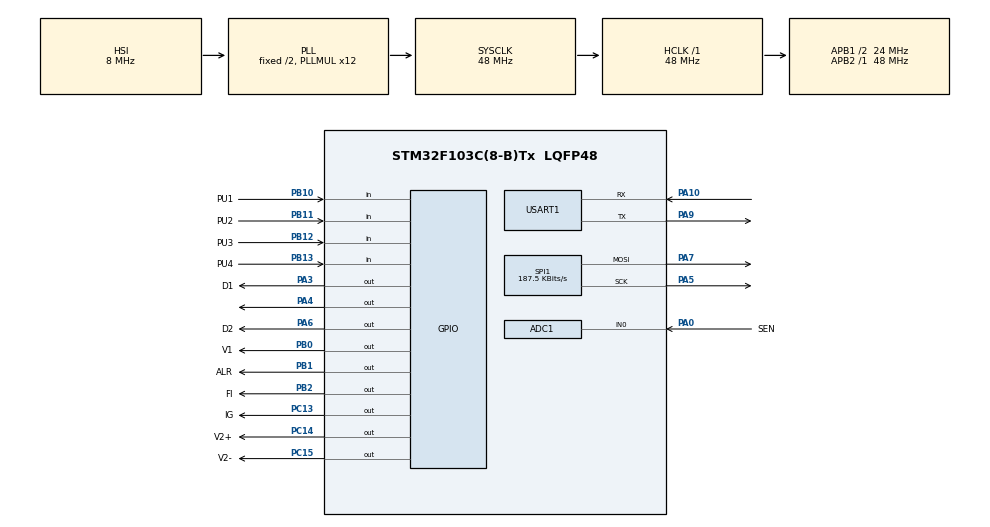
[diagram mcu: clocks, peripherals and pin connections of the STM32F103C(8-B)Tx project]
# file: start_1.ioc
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ADC1.Channel-0\#ChannelRegularConversion=ADC_CHANNEL_0
ADC1.NbrOfConversionFlag=1
ADC1.Rank-0\#ChannelRegularConversion=1
ADC1.SamplingTime-0\#ChannelRegularConversion=ADC_SAMPLETIME_1CYCLE_5
ADC1.master=1
FREERTOS.Tasks01=defaultTask,24,256,StartDefaultTask,Default,NULL,Dynamic,NULL,NULL;btn,8,128,StartTask02,Default,NULL,Dynamic,NULL,NULL;mode,8,128,StartTask03,Default,NULL,Dynamic,NULL,NULL
FREERTOS.configUSE_NEWLIB_REENTRANT=1
Mcu.Family=STM32F1
Mcu.Name=STM32F103C(8-B)Tx
Mcu.Package=LQFP48
NVIC.PriorityGroup=NVIC_PRIORITYGROUP_4
NVIC.TIM1_UP_IRQn=true\:15\:0\:false\:false\:true\:false\:false\:true\:true
NVIC.TimeBase=TIM1_UP_IRQn
NVIC.TimeBaseIP=TIM1
PA0-WKUP.GPIO_Label=SEN
PA0-WKUP.Signal=ADCx_IN0
PA10.Mode=Asynchronous
PA10.Signal=USART1_RX
PA13.Mode=Serial_Wire
PA13.Signal=SYS_JTMS-SWDIO
PA14.Mode=Serial_Wire
PA14.Signal=SYS_JTCK-SWCLK
PA3.GPIO_Label=D1
PA3.GPIO_ModeDefaultOutputPP=GPIO_MODE_OUTPUT_OD
PA3.GPIO_PuPd=GPIO_NOPULL
PA3.Signal=GPIO_Output
PA4.Signal=GPIO_Output
PA5.Mode=TX_Only_Simplex_Unidirect_Master
PA5.Signal=SPI1_SCK
PA6.GPIO_Label=D2
PA6.GPIO_ModeDefaultOutputPP=GPIO_MODE_OUTPUT_OD
PA6.GPIO_PuPd=GPIO_NOPULL
PA6.Signal=GPIO_Output
PA7.Mode=TX_Only_Simplex_Unidirect_Master
PA7.Signal=SPI1_MOSI
PA9.Mode=Asynchronous
PA9.Signal=USART1_TX
PB0.GPIO_Label=V1
PB0.GPIO_PuPd=GPIO_PULLDOWN
PB0.Signal=GPIO_Output
PB1.GPIO_Label=ALR
PB1.GPIO_PuPd=GPIO_PULLDOWN
PB1.Signal=GPIO_Output
PB10.GPIO_Label=PU1
PB10.Signal=GPIO_Input
PB11.GPIO_Label=PU2
PB11.Signal=GPIO_Input
PB12.GPIO_Label=PU3
PB12.Signal=GPIO_Input
PB13.GPIO_Label=PU4
PB13.Signal=GPIO_Input
PB2.GPIO_Label=FI
PB2.GPIO_PuPd=GPIO_PULLDOWN
PB2.Signal=GPIO_Output
PC13-TAMPER-RTC.GPIO_Label=IG
PC13-TAMPER-RTC.GPIO_PuPd=GPIO_PULLDOWN
PC13-TAMPER-RTC.Signal=GPIO_Output
PC14-OSC32_IN.GPIO_Label=V2+
PC14-OSC32_IN.GPIO_PuPd=GPIO_PULLDOWN
PC14-OSC32_IN.Signal=GPIO_Output
PC15-OSC32_OUT.GPIO_Label=V2-
PC15-OSC32_OUT.GPIO_PuPd=GPIO_PULLDOWN
PC15-OSC32_OUT.Signal=GPIO_Output
ProjectManager.HeapSize=0x200
ProjectManager.StackSize=0x400
ProjectManager.TargetToolchain=STM32CubeIDE
RCC.ADCPresc=RCC_ADCPCLK2_DIV4
RCC.AHBFreq_Value=48000000
RCC.APB1CLKDivider=RCC_HCLK_DIV2
RCC.APB1Freq_Value=24000000
RCC.APB1TimFreq_Value=48000000
RCC.APB2Freq_Value=48000000
RCC.APB2TimFreq_Value=48000000
RCC.HCLKFreq_Value=48000000
RCC.PLLMUL=RCC_PLL_MUL12
RCC.SYSCLKFreq_VALUE=48000000
RCC.SYSCLKSource=RCC_SYSCLKSOURCE_PLLCLK
RCC.USBFreq_Value=48000000
SH.ADCx_IN0.0=ADC1_IN0,IN0
SPI1.BaudRatePrescaler=SPI_BAUDRATEPRESCALER_256
SPI1.CLKPhase=SPI_PHASE_2EDGE
SPI1.CLKPolarity=SPI_POLARITY_LOW
SPI1.CalculateBaudRate=187.5 KBits/s
SPI1.Direction=SPI_DIRECTION_2LINES
SPI1.Mode=SPI_MODE_MASTER
SPI1.VirtualType=VM_MASTER
USART1.VirtualMode=VM_ASYNC
VP_FREERTOS_VS_CMSIS_V2.Mode=CMSIS_V2
VP_SYS_VS_tim1.Mode=TIM1
board=custom

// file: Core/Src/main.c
/* USER CODE BEGIN Header */
/**
  ******************************************************************************
  * @file           : main.c
  * @brief          : Main program body
  ******************************************************************************
  * @attention
  *
  * Copyright (c) 2024 STMicroelectronics.
  * All rights reserved.
  *
  * This software is licensed under terms that can be found in the LICENSE file
  * in the root directory of this software component.
  * If no LICENSE file comes with this software, it is provided AS-IS.
  *
  ******************************************************************************
  */
/* USER CODE END Header */
#include "main.h"
#include "cmsis_os.h"

ADC_HandleTypeDef hadc1;

SPI_HandleTypeDef hspi1;

UART_HandleTypeDef huart1;

/* Definitions for defaultTask */
osThreadId_t defaultTaskHandle;
const osThreadAttr_t defaultTask_attributes = {
  .name = "defaultTask",
  .stack_size = 256 * 4,
  .priority = (osPriority_t) osPriorityNormal,
};
/* Definitions for btn */
osThreadId_t btnHandle;
const osThreadAttr_t btn_attributes = {
  .name = "btn",
  .stack_size = 128 * 4,
  .priority = (osPriority_t) osPriorityLow,
};
/* Definitions for mode */
osThreadId_t modeHandle;
const osThreadAttr_t mode_attributes = {
  .name = "mode",
  .stack_size = 128 * 4,
  .priority = (osPriority_t) osPriorityLow,
};
/* USER CODE BEGIN PV */
uint8_t btn_pos = 0;
uint8_t mode = 0;
uint8_t modeNow = 0;
uint8_t detect = 0;
uint8_t detect3 = 0;
uint8_t detect4 = 0;
uint8_t Eror = 150;
uint8_t flag = 0;
uint8_t adc_ready = 0;
/* USER CODE END PV */

void SystemClock_Config(void);
static void MX_GPIO_Init(void);
static void MX_ADC1_Init(void);
static void MX_SPI1_Init(void);
static void MX_USART1_UART_Init(void);
void StartDefaultTask(void *argument);
void StartTask02(void *argument);
void StartTask03(void *argument);

int main(void)
{

  /* MCU Configuration--------------------------------------------------------*/

  /* Reset of all peripherals, Initializes the Flash interface and the Systick. */
  HAL_Init();

  /* Configure the system clock */
  SystemClock_Config();

  /* Initialize all configured peripherals */
  MX_GPIO_Init();
  MX_ADC1_Init();
  MX_SPI1_Init();
  MX_USART1_UART_Init();

  /* Init scheduler */
  osKernelInitialize();

  /* Create the thread(s) */
  /* creation of defaultTask */
  defaultTaskHandle = osThreadNew(StartDefaultTask, NULL, &defaultTask_attributes);

  /* creation of btn */
  btnHandle = osThreadNew(StartTask02, NULL, &btn_attributes);

  /* creation of mode */
  modeHandle = osThreadNew(StartTask03, NULL, &mode_attributes);

  /* Start scheduler */
  osKernelStart();

  /* We should never get here as control is now taken by the scheduler */
  /* Infinite loop */
  while (1)
  {

  }
}

void SystemClock_Config(void)
{
  RCC_OscInitTypeDef RCC_OscInitStruct = {0};
  RCC_ClkInitTypeDef RCC_ClkInitStruct = {0};
  RCC_PeriphCLKInitTypeDef PeriphClkInit = {0};

  /** Initializes the RCC Oscillators according to the specified parameters
  * in the RCC_OscInitTypeDef structure.
  */
  RCC_OscInitStruct.OscillatorType = RCC_OSCILLATORTYPE_HSI;
  RCC_OscInitStruct.HSIState = RCC_HSI_ON;
  RCC_OscInitStruct.HSICalibrationValue = RCC_HSICALIBRATION_DEFAULT;
  RCC_OscInitStruct.PLL.PLLState = RCC_PLL_ON;
  RCC_OscInitStruct.PLL.PLLSource = RCC_PLLSOURCE_HSI_DIV2;
  RCC_OscInitStruct.PLL.PLLMUL = RCC_PLL_MUL12;
  if (HAL_RCC_OscConfig(&RCC_OscInitStruct) != HAL_OK)
  {
    Error_Handler();
  }

  /** Initializes the CPU, AHB and APB buses clocks
  */
  RCC_ClkInitStruct.ClockType = RCC_CLOCKTYPE_HCLK|RCC_CLOCKTYPE_SYSCLK
                              |RCC_CLOCKTYPE_PCLK1|RCC_CLOCKTYPE_PCLK2;
  RCC_ClkInitStruct.SYSCLKSource = RCC_SYSCLKSOURCE_PLLCLK;
  RCC_ClkInitStruct.AHBCLKDivider = RCC_SYSCLK_DIV1;
  RCC_ClkInitStruct.APB1CLKDivider = RCC_HCLK_DIV2;
  RCC_ClkInitStruct.APB2CLKDivider = RCC_HCLK_DIV1;

  if (HAL_RCC_ClockConfig(&RCC_ClkInitStruct, FLASH_LATENCY_1) != HAL_OK)
  {
    Error_Handler();
  }
  PeriphClkInit.PeriphClockSelection = RCC_PERIPHCLK_ADC;
  PeriphClkInit.AdcClockSelection = RCC_ADCPCLK2_DIV4;
  if (HAL_RCCEx_PeriphCLKConfig(&PeriphClkInit) != HAL_OK)
  {
    Error_Handler();
  }
}

static void MX_ADC1_Init(void)
{

  ADC_ChannelConfTypeDef sConfig = {0};

  /** Common config
  */
  hadc1.Instance = ADC1;
  hadc1.Init.ScanConvMode = ADC_SCAN_DISABLE;
  hadc1.Init.ContinuousConvMode = DISABLE;
  hadc1.Init.DiscontinuousConvMode = DISABLE;
  hadc1.Init.ExternalTrigConv = ADC_SOFTWARE_START;
  hadc1.Init.DataAlign = ADC_DATAALIGN_RIGHT;
  hadc1.Init.NbrOfConversion = 1;
  if (HAL_ADC_Init(&hadc1) != HAL_OK)
  {
    Error_Handler();
  }

  /** Configure Regular Channel
  */
  sConfig.Channel = ADC_CHANNEL_0;
  sConfig.Rank = ADC_REGULAR_RANK_1;
  sConfig.SamplingTime = ADC_SAMPLETIME_1CYCLE_5;
  if (HAL_ADC_ConfigChannel(&hadc1, &sConfig) != HAL_OK)
  {
    Error_Handler();
  }

}

static void MX_SPI1_Init(void)
{

  /* SPI1 parameter configuration*/
  hspi1.Instance = SPI1;
  hspi1.Init.Mode = SPI_MODE_MASTER;
  hspi1.Init.Direction = SPI_DIRECTION_2LINES;
  hspi1.Init.DataSize = SPI_DATASIZE_8BIT;
  hspi1.Init.CLKPolarity = SPI_POLARITY_LOW;
  hspi1.Init.CLKPhase = SPI_PHASE_2EDGE;
  hspi1.Init.NSS = SPI_NSS_SOFT;
  hspi1.Init.BaudRatePrescaler = SPI_BAUDRATEPRESCALER_256;
  hspi1.Init.FirstBit = SPI_FIRSTBIT_MSB;
  hspi1.Init.TIMode = SPI_TIMODE_DISABLE;
  hspi1.Init.CRCCalculation = SPI_CRCCALCULATION_DISABLE;
  hspi1.Init.CRCPolynomial = 10;
  if (HAL_SPI_Init(&hspi1) != HAL_OK)
  {
    Error_Handler();
  }

}

static void MX_USART1_UART_Init(void)
{

  huart1.Instance = USART1;
  huart1.Init.BaudRate = 115200;
  huart1.Init.WordLength = UART_WORDLENGTH_8B;
  huart1.Init.StopBits = UART_STOPBITS_1;
  huart1.Init.Parity = UART_PARITY_NONE;
  huart1.Init.Mode = UART_MODE_TX_RX;
  huart1.Init.HwFlowCtl = UART_HWCONTROL_NONE;
  huart1.Init.OverSampling = UART_OVERSAMPLING_16;
  if (HAL_UART_Init(&huart1) != HAL_OK)
  {
    Error_Handler();
  }

}

static void MX_GPIO_Init(void)
{
  GPIO_InitTypeDef GPIO_InitStruct = {0};

  /* GPIO Ports Clock Enable */
  __HAL_RCC_GPIOC_CLK_ENABLE();
  __HAL_RCC_GPIOA_CLK_ENABLE();
  __HAL_RCC_GPIOB_CLK_ENABLE();

  /*Configure GPIO pin Output Level */
  HAL_GPIO_WritePin(GPIOC, IG_Pin|V2__Pin|V2_C15_Pin, GPIO_PIN_RESET);

  /*Configure GPIO pin Output Level */
  HAL_GPIO_WritePin(GPIOA, D1_Pin|GPIO_PIN_4|D2_Pin, GPIO_PIN_RESET);

  /*Configure GPIO pin Output Level */
  HAL_GPIO_WritePin(GPIOB, V1_Pin|ALR_Pin|FI_Pin, GPIO_PIN_RESET);

  /*Configure GPIO pins : IG_Pin V2__Pin V2_C15_Pin */
  GPIO_InitStruct.Pin = IG_Pin|V2__Pin|V2_C15_Pin;
  GPIO_InitStruct.Mode = GPIO_MODE_OUTPUT_PP;
  GPIO_InitStruct.Pull = GPIO_PULLDOWN;
  GPIO_InitStruct.Speed = GPIO_SPEED_FREQ_LOW;
  HAL_GPIO_Init(GPIOC, &GPIO_InitStruct);

  /*Configure GPIO pins : D1_Pin D2_Pin */
  GPIO_InitStruct.Pin = D1_Pin|D2_Pin;
  GPIO_InitStruct.Mode = GPIO_MODE_OUTPUT_OD;
  GPIO_InitStruct.Pull = GPIO_NOPULL;
  GPIO_InitStruct.Speed = GPIO_SPEED_FREQ_LOW;
  HAL_GPIO_Init(GPIOA, &GPIO_InitStruct);

  /*Configure GPIO pin : PA4 */
  GPIO_InitStruct.Pin = GPIO_PIN_4;
  GPIO_InitStruct.Mode = GPIO_MODE_OUTPUT_PP;
  GPIO_InitStruct.Pull = GPIO_NOPULL;
  GPIO_InitStruct.Speed = GPIO_SPEED_FREQ_LOW;
  HAL_GPIO_Init(GPIOA, &GPIO_InitStruct);

  /*Configure GPIO pins : V1_Pin ALR_Pin FI_Pin */
  GPIO_InitStruct.Pin = V1_Pin|ALR_Pin|FI_Pin;
  GPIO_InitStruct.Mode = GPIO_MODE_OUTPUT_PP;
  GPIO_InitStruct.Pull = GPIO_PULLDOWN;
  GPIO_InitStruct.Speed = GPIO_SPEED_FREQ_LOW;
  HAL_GPIO_Init(GPIOB, &GPIO_InitStruct);

  /*Configure GPIO pins : PU1_Pin PU2_Pin PU3_Pin PU4_Pin */
  GPIO_InitStruct.Pin = PU1_Pin|PU2_Pin|PU3_Pin|PU4_Pin;
  GPIO_InitStruct.Mode = GPIO_MODE_INPUT;
  GPIO_InitStruct.Pull = GPIO_NOPULL;
  HAL_GPIO_Init(GPIOB, &GPIO_InitStruct);

}

/* USER CODE BEGIN 4 */
uint8_t spi_test_ch[11] = {0x10, 0x76, 0x48, 0x44, 0x26, 0x84, 0x80, 0x56, 0x00, 0x04, 0xFF};

void seg(uint8_t ch_1, uint8_t ch_2) {
	HAL_GPIO_WritePin(D1_GPIO_Port, D1_Pin, GPIO_PIN_SET);
	HAL_GPIO_WritePin(D2_GPIO_Port, D2_Pin, GPIO_PIN_RESET);
	HAL_SPI_Transmit(&hspi1, &spi_test_ch[ch_1], 1, 100);
	HAL_GPIO_TogglePin(GPIOA, GPIO_PIN_4);
	HAL_GPIO_TogglePin(GPIOA, GPIO_PIN_4);
	HAL_Delay(10);
	HAL_GPIO_WritePin(D2_GPIO_Port, D2_Pin, GPIO_PIN_SET);
	HAL_GPIO_WritePin(D1_GPIO_Port, D1_Pin, GPIO_PIN_RESET);
	HAL_SPI_Transmit(&hspi1, &spi_test_ch[ch_2], 1, 100);
	HAL_GPIO_TogglePin(GPIOA, GPIO_PIN_4);
	HAL_GPIO_TogglePin(GPIOA, GPIO_PIN_4);
	HAL_Delay(10);
}

void regime0(){

}

void regime1(){
for(int i = 0; i < 254; i++){
	seg(0,1);
}
mode = 2;
detect3 = detect3 + 1;
}

void regime2(){

}

void regime3(){

}

void regime4(){
	HAL_GPIO_TogglePin(V1_GPIO_Port, V1_Pin);
}

//void regime5(){
//
//}
//
//void regime6(){
//
//}
//
//void regime7(){
//
//}
//
//void regime8(){
//
//}
//
//void regime9(){
//
//}
//
//void regime10(){
//
//}
//
//void regime28(){
//
//}
//
//void regime29(){
//
//}
//
//void regime30(){
//
//}
//
//void regime31(){
//
//}
//
//void regime32(){
//
//}
//
//void regime52(){
//
//}
//
//void regime53(){
//
//}
//
//void regime83(){
//
//}
//
//void regime19(){
//
//}
//
//void regime20(){
//
//}
/* USER CODE END 4 */

void StartDefaultTask(void *argument)
{
  /* USER CODE BEGIN 5 */
	uint8_t spi_test[1] = {0x10};
	uint8_t num1;
	uint8_t num2;
	uint16_t del = 49;

  /* Infinite loop */
  for(;;)
  {
    osDelay(5);

		modeNow = mode;
		if (mode > 149) {
			modeNow = mode - 150;
			del = 0;
			for (int i = del; i < 50; i++) {
				seg(10, 10);
			}
		}
		num1 = modeNow / 10;
		num2 = modeNow % 10;
		for (int i = del; i < 50; i++) {
			seg(num1, num2);
		}
		del = 49;

  }
  /* USER CODE END 5 */
}

void StartTask02(void *argument)
{
  /* USER CODE BEGIN StartTask02 */
  /* Infinite loop */
  for(;;)
  {
    osDelay(1);
    if (HAL_GPIO_ReadPin(PU1_GPIO_Port, PU1_Pin)) {
    			btn_pos = btn_pos | 0x01;
    		} else {
    			btn_pos = btn_pos & 0xFE;
    		}
    		if (HAL_GPIO_ReadPin(PU2_GPIO_Port, PU2_Pin)) {
    			btn_pos = btn_pos | 0x02;
    		} else {
    			btn_pos = btn_pos & 0xFD;
    		}
    		if (HAL_GPIO_ReadPin(PU3_GPIO_Port, PU3_Pin)) {
    			if((flag & 0x04)==0){
    			detect3 = detect3 + 1;
    			flag = flag | 0x04;
    			}
    		} else {
    			flag = flag & 0xFB;
    		}
    		if (HAL_GPIO_ReadPin(PU4_GPIO_Port, PU4_Pin)) {
    			if((flag & 0x08)==0){
    			detect4 = detect4 + 1;
    			flag = flag | 0x08;
    			}
    		} else {
    			flag = flag & 0xF7;
    		}

  }
  /* USER CODE END StartTask02 */
}

void StartTask03(void *argument)
{
  /* USER CODE BEGIN StartTask03 */
  /* Infinite loop */
  for(;;)
  {
    osDelay(5);
    HAL_ADC_Start(&hadc1);
    HAL_ADC_PollForConversion(&hadc1, 100);
    adc_ready = (uint32_t) HAL_ADC_GetValue(&hadc1);
    HAL_ADC_Stop(&hadc1);

    if (detect3 == 1) {
    			mode = 1;
    			if (adc_ready < 100) {
    				mode = mode + Eror;
    			}
    			regime1();
    		}
    		if (mode == 2) {
    			HAL_GPIO_WritePin(V2__GPIO_Port, V2__Pin, 1);
    			HAL_GPIO_TogglePin(V2_C15_GPIO_Port, V2_C15_Pin);

    			for (int i = 0; i < 200; i++) {							///pause
    				seg(0, 2);
    			}
    			if (detect4 > 0) {                            ///flash 02 on seg
    				mode = mode + Eror;
    			} else {
    				mode = 4;
    				regime4();
				if (adc_ready < 150) {
					mode = mode + Eror;
				}
    			}
    		}
  }
  /* USER CODE END StartTask03 */
}

void HAL_TIM_PeriodElapsedCallback(TIM_HandleTypeDef *htim)
{
  if (htim->Instance == TIM1) {
    HAL_IncTick();
  }
}

void Error_Handler(void)
{
  __disable_irq();
  while (1)
  {
  }
}
